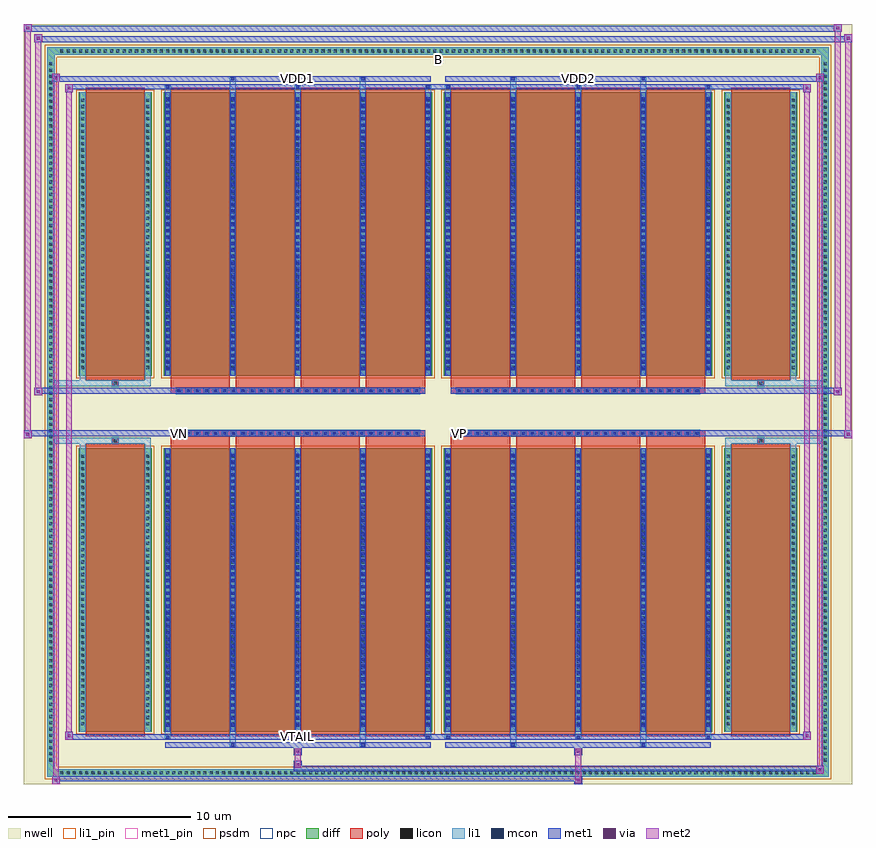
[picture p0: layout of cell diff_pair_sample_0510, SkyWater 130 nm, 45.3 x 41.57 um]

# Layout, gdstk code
import gdstk
lib = gdstk.Library(unit=1e-6, precision=5e-09)
def R(c, l, rs):  # rectangles x0, y0, x1, y1
    for r in rs: c.add(gdstk.rectangle(r[:2], r[2:], *l))
def A(c, l, x, y, w, h, nx, ny, dx, dy):  # array of equal rectangles
    R(c, l, [(x+i*dx, y+j*dy, x+i*dx+w, y+j*dy+h) for i in range(nx) for j in range(ny)])
def P(c, l, *ps):  # polygons
    for p in ps: c.add(gdstk.Polygon(p, *l))
nwell = (64, 20)
diff = (65, 20)
poly = (66, 20)
licon = (66, 44)
li1_pin = (67, 16)
li1 = (67, 20)
mcon = (67, 44)
met1_pin = (68, 16)
met1 = (68, 20)
via = (68, 44)
met2 = (69, 20)
psdm = (94, 20)
npc = (95, 20)

diff_pair_sample_0510 = lib.new_cell('diff_pair_sample_0510')
R(diff_pair_sample_0510, nwell, [(-22.65,-20.35,22.65,21.22), (-19.97,-18.54,-0.01,-0.8), (0.01,-18.54,19.97,-0.8), (-19.97,0.8,-0.01,18.54), (0.01,0.8,19.97,18.54)])
A(diff_pair_sample_0510, diff, -20.775, -19.95, 0.41, 0.41, 122, 2, 0.34, 39.49)
A(diff_pair_sample_0510, diff, -21.38, -19.245, 0.41, 0.41, 1, 113, 0, 0.34)
A(diff_pair_sample_0510, diff, 20.97, -19.245, 0.41, 0.41, 1, 113, 0, 0.34)
R(diff_pair_sample_0510, diff, [(-20.775,-19.95,20.775,-19.54), (-21.38,-19.245,-20.97,19.245), (20.97,-19.245,21.38,19.245), (-19.66,-17.495,-15.65,-1.985), (-15.01,-17.495,-0.32,-1.985), (0.32,-17.495,15.01,-1.985), (15.65,-17.495,19.66,-1.985), (-19.66,1.985,-15.65,17.495), (-15.01,1.985,-0.32,17.495), (0.32,1.985,15.01,17.495), (15.65,1.985,19.66,17.495), (-20.775,19.54,20.775,19.95)])
P(diff_pair_sample_0510, diff, [(21.38,19.95),(-21.38,19.95),(-21.38,-19.54),(-20.97,-19.54),(-20.97,19.54),(20.97,19.54),(20.97,-19.54),(-20.97,-19.54),(-21.38,-19.54),(-21.38,-19.95),(21.38,-19.95)])
A(diff_pair_sample_0510, poly, -14.62, -17.745, 3.23, 16.01, 4, 2, 3.56, 19.48)
A(diff_pair_sample_0510, poly, 0.71, -17.745, 3.23, 16.01, 4, 2, 3.56, 19.48)
A(diff_pair_sample_0510, poly, -14.62, -1.735, 3.23, 0.405, 4, 2, 3.56, 3.065)
A(diff_pair_sample_0510, poly, 0.71, -1.735, 3.23, 0.405, 4, 2, 3.56, 3.065)
A(diff_pair_sample_0510, poly, -14.33, -1.33, 0.33, 0.33, 27, 2, 0.5, 2.33)
A(diff_pair_sample_0510, poly, 1, -1.33, 0.33, 0.33, 27, 2, 0.5, 2.33)
R(diff_pair_sample_0510, poly, [(-19.27,-17.745,-16.04,-1.735), (16.04,-17.745,19.27,-1.735), (-17.82,-1.735,-17.49,-1.405), (-17.82,-1.735,-17.49,-1.405), (17.49,-1.735,17.82,-1.405), (17.49,-1.735,17.82,-1.405), (-14.62,-1.33,-0.71,-1), (0.71,-1.33,14.62,-1), (-14.62,1,-0.71,1.33), (0.71,1,14.62,1.33), (-17.82,1.405,-17.49,1.735), (-17.82,1.405,-17.49,1.735), (17.49,1.405,17.82,1.735), (17.49,1.405,17.82,1.735), (-19.27,1.735,-16.04,17.745), (16.04,1.735,19.27,17.745)])
A(diff_pair_sample_0510, licon, -20.655, -19.83, 0.17, 0.17, 122, 2, 0.34, 39.49)
A(diff_pair_sample_0510, licon, -21.26, -19.125, 0.17, 0.17, 1, 113, 0, 0.34)
A(diff_pair_sample_0510, licon, 21.09, -19.125, 0.17, 0.17, 1, 113, 0, 0.34)
A(diff_pair_sample_0510, licon, -19.52, -17.135, 0.17, 0.17, 1, 44, 0, 0.34)
A(diff_pair_sample_0510, licon, -15.96, -17.135, 0.17, 0.17, 1, 44, 0, 0.34)
A(diff_pair_sample_0510, licon, -14.87, -17.135, 0.17, 0.17, 5, 44, 3.56, 0.34)
A(diff_pair_sample_0510, licon, 0.46, -17.135, 0.17, 0.17, 5, 44, 3.56, 0.34)
A(diff_pair_sample_0510, licon, 15.79, -17.135, 0.17, 0.17, 1, 44, 0, 0.34)
A(diff_pair_sample_0510, licon, 19.35, -17.135, 0.17, 0.17, 1, 44, 0, 0.34)
A(diff_pair_sample_0510, licon, -14.25, -1.25, 0.17, 0.17, 27, 2, 0.5, 2.33)
A(diff_pair_sample_0510, licon, 1.08, -1.25, 0.17, 0.17, 27, 2, 0.5, 2.33)
A(diff_pair_sample_0510, licon, -19.52, 2.345, 0.17, 0.17, 1, 44, 0, 0.34)
A(diff_pair_sample_0510, licon, -15.96, 2.345, 0.17, 0.17, 1, 44, 0, 0.34)
A(diff_pair_sample_0510, licon, -14.87, 2.345, 0.17, 0.17, 5, 44, 3.56, 0.34)
A(diff_pair_sample_0510, licon, 0.46, 2.345, 0.17, 0.17, 5, 44, 3.56, 0.34)
A(diff_pair_sample_0510, licon, 15.79, 2.345, 0.17, 0.17, 1, 44, 0, 0.34)
A(diff_pair_sample_0510, licon, 19.35, 2.345, 0.17, 0.17, 1, 44, 0, 0.34)
R(diff_pair_sample_0510, licon, [(-17.74,-1.655,-17.57,-1.485), (17.57,-1.655,17.74,-1.485), (-17.74,1.485,-17.57,1.655), (17.57,1.485,17.74,1.655)])
R(diff_pair_sample_0510, li1_pin, [(-0.25,19.04,0.25,19.54)])
A(diff_pair_sample_0510, li1, -20.735, -19.91, 0.33, 0.33, 122, 2, 0.34, 39.49)
A(diff_pair_sample_0510, li1, -21.34, -19.205, 0.33, 0.33, 1, 113, 0, 0.34)
A(diff_pair_sample_0510, li1, 21.01, -19.205, 0.33, 0.33, 1, 113, 0, 0.34)
A(diff_pair_sample_0510, li1, -14.95, -17.87, 0.33, 0.375, 3, 2, 7.12, 35.365)
A(diff_pair_sample_0510, li1, -14.87, -17.87, 0.17, 0.17, 3, 2, 7.12, 35.57)
A(diff_pair_sample_0510, li1, 0.38, -17.87, 0.33, 0.375, 3, 2, 7.12, 35.365)
A(diff_pair_sample_0510, li1, 0.46, -17.87, 0.17, 0.17, 3, 2, 7.12, 35.57)
A(diff_pair_sample_0510, li1, -14.95, -17.495, 0.33, 15.51, 5, 2, 3.56, 19.48)
A(diff_pair_sample_0510, li1, 0.38, -17.495, 0.33, 15.51, 5, 2, 3.56, 19.48)
A(diff_pair_sample_0510, li1, -19.6, -17.215, 0.33, 0.33, 1, 44, 0, 0.34)
A(diff_pair_sample_0510, li1, -16.04, -17.215, 0.33, 0.33, 1, 44, 0, 0.34)
A(diff_pair_sample_0510, li1, -14.95, -17.215, 0.33, 0.33, 5, 44, 3.56, 0.34)
A(diff_pair_sample_0510, li1, 0.38, -17.215, 0.33, 0.33, 5, 44, 3.56, 0.34)
A(diff_pair_sample_0510, li1, 15.71, -17.215, 0.33, 0.33, 1, 44, 0, 0.34)
A(diff_pair_sample_0510, li1, 19.27, -17.215, 0.33, 0.33, 1, 44, 0, 0.34)
A(diff_pair_sample_0510, li1, -14.87, -17.205, 0.17, 0.17, 5, 42, 3.56, 0.36)
A(diff_pair_sample_0510, li1, -14.87, -17.205, 0.17, 14.93, 5, 2, 3.56, 19.48)
A(diff_pair_sample_0510, li1, 0.46, -17.205, 0.17, 0.17, 5, 42, 3.56, 0.36)
A(diff_pair_sample_0510, li1, 0.46, -17.205, 0.17, 14.93, 5, 2, 3.56, 19.48)
A(diff_pair_sample_0510, li1, -14.33, -1.33, 0.33, 0.33, 27, 2, 0.5, 2.33)
A(diff_pair_sample_0510, li1, 1, -1.33, 0.33, 0.33, 27, 2, 0.5, 2.33)
A(diff_pair_sample_0510, li1, -19.6, 2.265, 0.33, 0.33, 1, 44, 0, 0.34)
A(diff_pair_sample_0510, li1, -16.04, 2.265, 0.33, 0.33, 1, 44, 0, 0.34)
A(diff_pair_sample_0510, li1, -14.95, 2.265, 0.33, 0.33, 5, 44, 3.56, 0.34)
A(diff_pair_sample_0510, li1, 0.38, 2.265, 0.33, 0.33, 5, 44, 3.56, 0.34)
A(diff_pair_sample_0510, li1, 15.71, 2.265, 0.33, 0.33, 1, 44, 0, 0.34)
A(diff_pair_sample_0510, li1, 19.27, 2.265, 0.33, 0.33, 1, 44, 0, 0.34)
A(diff_pair_sample_0510, li1, -14.87, 2.275, 0.17, 0.17, 5, 42, 3.56, 0.36)
A(diff_pair_sample_0510, li1, 0.46, 2.275, 0.17, 0.17, 5, 42, 3.56, 0.36)
R(diff_pair_sample_0510, li1, [(-21.38,-19.95,-20.97,-19.54), (-21.38,-19.95,-20.97,-19.54), (-20.97,-19.95,20.97,-19.54), (20.97,-19.95,21.38,-19.54), (20.97,-19.95,21.38,-19.54), (-21.38,-19.54,-20.97,19.54), (20.97,-19.54,21.38,19.54), (-11.39,-18.3,-11.06,-17.495), (-11.31,-18.3,-11.14,-18.13), (-4.27,-18.3,-3.94,-17.495), (-4.19,-18.3,-4.02,-18.13), (3.94,-18.3,4.27,-17.495), (4.02,-18.3,4.19,-18.13), (11.06,-18.3,11.39,-17.495), (11.14,-18.3,11.31,-18.13), (-19.6,-17.495,-19.27,-1.985), (-16.04,-17.495,-15.71,-1.985), (15.71,-17.495,16.04,-1.985), (19.27,-17.495,19.6,-1.985), (-19.6,-1.985,-19.27,-1.405), (-16.04,-1.985,-15.71,-1.405), (15.71,-1.985,16.04,-1.405), (19.27,-1.985,19.6,-1.405), (-21.38,-1.735,-17.82,-1.405), (-19.6,-1.735,-17.82,-1.405), (-17.82,-1.735,-17.49,-1.405), (-17.49,-1.735,-15.71,-1.405), (15.71,-1.735,17.49,-1.405), (17.49,-1.735,17.82,-1.405), (17.49,-1.735,21.38,-1.405), (17.82,-1.735,19.6,-1.405), (-21.38,1.405,-17.82,1.735), (-19.6,1.405,-17.82,1.735), (-19.6,1.405,-19.27,1.985), (-17.82,1.405,-17.49,1.735), (-17.49,1.405,-15.71,1.735), (-16.04,1.405,-15.71,1.985), (15.71,1.405,17.49,1.735), (15.71,1.405,16.04,1.985), (17.49,1.405,17.82,1.735), (17.49,1.405,21.38,1.735), (17.82,1.405,19.6,1.735), (19.27,1.405,19.6,1.985), (-19.6,1.985,-19.27,17.495), (-16.04,1.985,-15.71,17.495), (15.71,1.985,16.04,17.495), (19.27,1.985,19.6,17.495), (-11.39,17.495,-11.06,18.3), (-4.27,17.495,-3.94,18.3), (3.94,17.495,4.27,18.3), (11.06,17.495,11.39,18.3), (-11.31,18.13,-11.14,18.3), (-4.19,18.13,-4.02,18.3), (4.02,18.13,4.19,18.3), (11.14,18.13,11.31,18.3), (-21.38,19.54,-20.97,19.95), (-21.38,19.54,-20.97,19.95), (-20.97,19.54,20.97,19.95), (20.97,19.54,21.38,19.95), (20.97,19.54,21.38,19.95)])
A(diff_pair_sample_0510, mcon, -14.87, -17.87, 0.17, 0.17, 3, 2, 7.12, 35.57)
A(diff_pair_sample_0510, mcon, 0.46, -17.87, 0.17, 0.17, 3, 2, 7.12, 35.57)
A(diff_pair_sample_0510, mcon, -14.87, -17.205, 0.17, 0.17, 5, 42, 3.56, 0.36)
A(diff_pair_sample_0510, mcon, 0.46, -17.205, 0.17, 0.17, 5, 42, 3.56, 0.36)
A(diff_pair_sample_0510, mcon, -14.25, -1.25, 0.17, 0.17, 27, 2, 0.5, 2.33)
A(diff_pair_sample_0510, mcon, 1.08, -1.25, 0.17, 0.17, 27, 2, 0.5, 2.33)
A(diff_pair_sample_0510, mcon, -14.87, 2.275, 0.17, 0.17, 5, 42, 3.56, 0.36)
A(diff_pair_sample_0510, mcon, 0.46, 2.275, 0.17, 0.17, 5, 42, 3.56, 0.36)
R(diff_pair_sample_0510, mcon, [(-11.31,-18.3,-11.14,-18.13), (-4.19,-18.3,-4.02,-18.13), (4.02,-18.3,4.19,-18.13), (11.14,-18.3,11.31,-18.13), (-11.31,18.13,-11.14,18.3), (-4.19,18.13,-4.02,18.3), (4.02,18.13,4.19,18.3), (11.14,18.13,11.31,18.3)])
R(diff_pair_sample_0510, met1_pin, [(-7.8,-17.91,-7.53,-17.64), (-14.3,-1.29,-14.03,-1.02), (1.03,-1.29,1.3,-1.02), (-7.8,18.09,-7.53,18.36), (7.53,18.09,7.8,18.36)])
A(diff_pair_sample_0510, met1, -14.93, -17.93, 0.29, 0.29, 3, 2, 7.12, 35.57)
A(diff_pair_sample_0510, met1, 0.4, -17.93, 0.29, 0.29, 3, 2, 7.12, 35.57)
A(diff_pair_sample_0510, met1, -14.93, -17.495, 0.29, 15.51, 5, 2, 3.56, 19.48)
A(diff_pair_sample_0510, met1, 0.4, -17.495, 0.29, 15.51, 5, 2, 3.56, 19.48)
A(diff_pair_sample_0510, met1, -14.93, -17.265, 0.29, 0.29, 5, 42, 3.56, 0.36)
A(diff_pair_sample_0510, met1, 0.4, -17.265, 0.29, 0.29, 5, 42, 3.56, 0.36)
A(diff_pair_sample_0510, met1, -14.31, -1.31, 0.29, 0.29, 27, 2, 0.5, 2.33)
A(diff_pair_sample_0510, met1, 1.02, -1.31, 0.29, 0.29, 27, 2, 0.5, 2.33)
A(diff_pair_sample_0510, met1, -14.93, 2.215, 0.29, 0.29, 5, 42, 3.56, 0.36)
A(diff_pair_sample_0510, met1, 0.4, 2.215, 0.29, 0.29, 5, 42, 3.56, 0.36)
R(diff_pair_sample_0510, met1, [(-21.11,-20.35,-20.68,-19.92), (7.45,-20.35,7.88,-19.92), (-21.11,-20.21,7.88,-19.92), (20.68,-19.78,21.11,-19.35), (-7.88,-19.64,21.11,-19.35), (-7.88,-19.5,-7.45,-19.07), (-7.88,-18.79,-7.45,-18.36), (7.45,-18.79,7.88,-18.36), (-14.93,-18.36,-0.4,-18.07), (-11.37,-18.36,-11.08,-18.07), (-4.25,-18.36,-3.96,-18.07), (0.4,-18.36,14.93,-18.07), (3.96,-18.36,4.25,-18.07), (11.08,-18.36,11.37,-18.07), (-20.4,-17.93,-19.97,-17.5), (-20.4,-17.93,-14.93,-17.64), (-14.93,-17.93,-0.4,-17.64), (-0.4,-17.93,0.4,-17.64), (0.4,-17.93,14.93,-17.64), (14.93,-17.93,20.4,-17.64), (19.97,-17.93,20.4,-17.5), (-22.65,-1.43,-22.22,-1), (22.22,-1.43,22.65,-1), (-22.65,-1.33,-0.71,-1), (-14.62,-1.33,-0.71,-1), (0.71,-1.33,14.62,-1), (0.71,-1.33,22.65,-1), (-22.08,0.9,-21.65,1.33), (21.65,0.9,22.08,1.33), (-22.08,1,-14.62,1.33), (-14.62,1,-0.71,1.33), (0.71,1,14.62,1.33), (14.62,1,22.08,1.33), (-20.4,17.5,-19.97,17.93), (19.97,17.5,20.4,17.93), (-20.4,17.64,-14.93,17.93), (-14.93,17.64,-0.4,17.93), (-0.4,17.64,0.4,17.93), (0.4,17.64,14.93,17.93), (14.93,17.64,20.4,17.93), (-21.11,18.07,-20.68,18.5), (-21.11,18.07,-14.93,18.36), (-14.93,18.07,-0.4,18.36), (-11.37,18.07,-11.08,18.36), (-4.25,18.07,-3.96,18.36), (0.4,18.07,14.93,18.36), (3.96,18.07,4.25,18.36), (11.08,18.07,11.37,18.36), (14.93,18.07,21.11,18.36), (20.68,18.07,21.11,18.5), (-22.08,20.22,-21.65,20.65), (-22.08,20.22,-19.97,20.55), (-19.97,20.22,19.97,20.55), (19.97,20.22,22.65,20.55), (22.22,20.22,22.65,20.65), (-22.65,20.79,-22.22,21.22), (-22.65,20.79,-19.97,21.12), (-19.97,20.79,19.97,21.12), (19.97,20.79,22.08,21.12), (21.65,20.79,22.08,21.22)])
R(diff_pair_sample_0510, via, [(-20.97,-20.21,-20.82,-20.06), (7.59,-20.21,7.74,-20.06), (20.82,-19.64,20.97,-19.49), (-7.74,-19.36,-7.59,-19.21), (-7.74,-18.65,-7.59,-18.5), (7.59,-18.65,7.74,-18.5), (-20.26,-17.79,-20.11,-17.64), (20.11,-17.79,20.26,-17.64), (-22.51,-1.29,-22.36,-1.14), (22.36,-1.29,22.51,-1.14), (-21.94,1.04,-21.79,1.19), (21.79,1.04,21.94,1.19), (-20.26,17.64,-20.11,17.79), (20.11,17.64,20.26,17.79), (-20.97,18.21,-20.82,18.36), (20.82,18.21,20.97,18.36), (-21.94,20.36,-21.79,20.51), (22.36,20.36,22.51,20.51), (-22.51,20.93,-22.36,21.08), (21.79,20.93,21.94,21.08)])
R(diff_pair_sample_0510, met2, [(-21.11,-20.35,-20.68,-19.92), (-21.04,-20.35,-20.75,18.5), (-20.75,-20.35,-20.68,-19.92), (-21.06,-20.3,-20.73,-19.97), (7.5,-20.3,7.83,-19.97), (7.5,-19.97,7.83,-18.74), (20.68,-19.78,21.11,-19.35), (20.75,-19.78,21.04,18.5), (21.04,-19.78,21.11,-19.35), (20.73,-19.73,21.06,-19.4), (-7.83,-19.45,-7.5,-19.12), (-7.83,-19.12,-7.5,-18.74), (-7.83,-18.74,-7.5,-18.41), (7.5,-18.74,7.83,-18.41), (-20.4,-17.93,-19.97,-17.5), (-20.33,-17.93,-20.04,17.93), (-20.04,-17.93,-19.97,-17.5), (19.97,-17.93,20.4,-17.5), (20.04,-17.93,20.33,17.93), (20.33,-17.93,20.4,-17.5), (-20.35,-17.88,-20.02,-17.55), (20.02,-17.88,20.35,-17.55), (-22.65,-1.43,-22.22,-1), (-22.6,-1.43,-22.27,21.22), (-22.27,-1.43,-22.22,-1), (22.22,-1.43,22.65,-1), (22.27,-1.43,22.6,20.65), (22.6,-1.43,22.65,-1), (-22.6,-1.38,-22.27,-1.05), (22.27,-1.38,22.6,-1.05), (-22.08,0.9,-21.65,1.33), (-22.03,0.9,-21.7,20.65), (-21.7,0.9,-21.65,1.33), (21.65,0.9,22.08,1.33), (21.7,0.9,22.03,21.22), (22.03,0.9,22.08,1.33), (-22.03,0.95,-21.7,1.28), (21.7,0.95,22.03,1.28), (-20.4,17.5,-19.97,17.93), (-20.04,17.5,-19.97,17.93), (19.97,17.5,20.4,17.93), (20.33,17.5,20.4,17.93), (-20.35,17.55,-20.02,17.88), (20.02,17.55,20.35,17.88), (-21.11,18.07,-20.68,18.5), (-20.75,18.07,-20.68,18.5), (20.68,18.07,21.11,18.5), (21.04,18.07,21.11,18.5), (-21.06,18.12,-20.73,18.45), (20.73,18.12,21.06,18.45), (-22.08,20.22,-21.65,20.65), (-21.7,20.22,-21.65,20.65), (22.22,20.22,22.65,20.65), (22.6,20.22,22.65,20.65), (-22.03,20.27,-21.7,20.6), (22.27,20.27,22.6,20.6), (-22.65,20.79,-22.22,21.22), (-22.27,20.79,-22.22,21.22), (21.65,20.79,22.08,21.22), (22.03,20.79,22.08,21.22), (-22.6,20.84,-22.27,21.17), (21.7,20.84,22.03,21.17)])
R(diff_pair_sample_0510, psdm, [(-19.79,-17.625,-15.52,-1.855), (-15.14,-17.625,-0.19,-1.855), (0.19,-17.625,15.14,-1.855), (15.52,-17.625,19.79,-1.855), (-19.79,1.855,-15.52,17.625), (-15.14,1.855,-0.19,17.625), (0.19,1.855,15.14,17.625), (15.52,1.855,19.79,17.625)])
P(diff_pair_sample_0510, psdm, [(21.51,20.08),(-21.51,20.08),(-21.51,-19.41),(-20.84,-19.41),(-20.84,19.41),(20.84,19.41),(20.84,-19.41),(-20.84,-19.41),(-21.51,-19.41),(-21.51,-20.08),(21.51,-20.08)])
A(diff_pair_sample_0510, npc, -14.35, -1.35, 0.37, 0.37, 27, 2, 0.5, 2.33)
A(diff_pair_sample_0510, npc, 0.98, -1.35, 0.37, 0.37, 27, 2, 0.5, 2.33)
R(diff_pair_sample_0510, npc, [(-17.84,-1.755,-17.47,-1.385), (17.47,-1.755,17.84,-1.385), (-14.35,-1.35,-13.48,-0.98), (-14.35,-1.35,-13.48,-0.98), (-13.85,-1.35,-12.98,-0.98), (-13.85,-1.35,-12.98,-0.98), (-13.35,-1.35,-12.48,-0.98), (-13.35,-1.35,-12.48,-0.98), (-12.85,-1.35,-11.98,-0.98), (-12.85,-1.35,-11.98,-0.98), (-12.35,-1.35,-11.48,-0.98), (-12.35,-1.35,-11.48,-0.98), (-11.85,-1.35,-10.98,-0.98), (-11.85,-1.35,-10.98,-0.98), (-11.35,-1.35,-10.48,-0.98), (-11.35,-1.35,-10.48,-0.98), (-10.85,-1.35,-9.98,-0.98), (-10.85,-1.35,-9.98,-0.98), (-10.35,-1.35,-9.48,-0.98), (-10.35,-1.35,-9.48,-0.98), (-9.85,-1.35,-8.98,-0.98), (-9.85,-1.35,-8.98,-0.98), (-9.35,-1.35,-8.48,-0.98), (-9.35,-1.35,-8.48,-0.98), (-8.85,-1.35,-7.98,-0.98), (-8.85,-1.35,-7.98,-0.98), (-8.35,-1.35,-7.48,-0.98), (-8.35,-1.35,-7.48,-0.98), (-7.85,-1.35,-6.98,-0.98), (-7.85,-1.35,-6.98,-0.98), (-7.35,-1.35,-6.48,-0.98), (-7.35,-1.35,-6.48,-0.98), (-6.85,-1.35,-5.98,-0.98), (-6.85,-1.35,-5.98,-0.98), (-6.35,-1.35,-5.48,-0.98), (-6.35,-1.35,-5.48,-0.98), (-5.85,-1.35,-4.98,-0.98), (-5.85,-1.35,-4.98,-0.98), (-5.35,-1.35,-4.48,-0.98), (-5.35,-1.35,-4.48,-0.98), (-4.85,-1.35,-3.98,-0.98), (-4.85,-1.35,-3.98,-0.98), (-4.35,-1.35,-3.48,-0.98), (-4.35,-1.35,-3.48,-0.98), (-3.85,-1.35,-2.98,-0.98), (-3.85,-1.35,-2.98,-0.98), (-3.35,-1.35,-2.48,-0.98), (-3.35,-1.35,-2.48,-0.98), (-2.85,-1.35,-1.98,-0.98), (-2.85,-1.35,-1.98,-0.98), (-2.35,-1.35,-1.48,-0.98), (-2.35,-1.35,-1.48,-0.98), (-1.85,-1.35,-0.98,-0.98), (-1.85,-1.35,-0.98,-0.98), (0.98,-1.35,1.85,-0.98), (0.98,-1.35,1.85,-0.98), (1.48,-1.35,2.35,-0.98), (1.48,-1.35,2.35,-0.98), (1.98,-1.35,2.85,-0.98), (1.98,-1.35,2.85,-0.98), (2.48,-1.35,3.35,-0.98), (2.48,-1.35,3.35,-0.98), (2.98,-1.35,3.85,-0.98), (2.98,-1.35,3.85,-0.98), (3.48,-1.35,4.35,-0.98), (3.48,-1.35,4.35,-0.98), (3.98,-1.35,4.85,-0.98), (3.98,-1.35,4.85,-0.98), (4.48,-1.35,5.35,-0.98), (4.48,-1.35,5.35,-0.98), (4.98,-1.35,5.85,-0.98), (4.98,-1.35,5.85,-0.98), (5.48,-1.35,6.35,-0.98), (5.48,-1.35,6.35,-0.98), (5.98,-1.35,6.85,-0.98), (5.98,-1.35,6.85,-0.98), (6.48,-1.35,7.35,-0.98), (6.48,-1.35,7.35,-0.98), (6.98,-1.35,7.85,-0.98), (6.98,-1.35,7.85,-0.98), (7.48,-1.35,8.35,-0.98), (7.48,-1.35,8.35,-0.98), (7.98,-1.35,8.85,-0.98), (7.98,-1.35,8.85,-0.98), (8.48,-1.35,9.35,-0.98), (8.48,-1.35,9.35,-0.98), (8.98,-1.35,9.85,-0.98), (8.98,-1.35,9.85,-0.98), (9.48,-1.35,10.35,-0.98), (9.48,-1.35,10.35,-0.98), (9.98,-1.35,10.85,-0.98), (9.98,-1.35,10.85,-0.98), (10.48,-1.35,11.35,-0.98), (10.48,-1.35,11.35,-0.98), (10.98,-1.35,11.85,-0.98), (10.98,-1.35,11.85,-0.98), (11.48,-1.35,12.35,-0.98), (11.48,-1.35,12.35,-0.98), (11.98,-1.35,12.85,-0.98), (11.98,-1.35,12.85,-0.98), (12.48,-1.35,13.35,-0.98), (12.48,-1.35,13.35,-0.98), (12.98,-1.35,13.85,-0.98), (12.98,-1.35,13.85,-0.98), (13.48,-1.35,14.35,-0.98), (13.48,-1.35,14.35,-0.98), (-14.35,0.98,-13.48,1.35), (-14.35,0.98,-13.48,1.35), (-13.85,0.98,-12.98,1.35), (-13.85,0.98,-12.98,1.35), (-13.35,0.98,-12.48,1.35), (-13.35,0.98,-12.48,1.35), (-12.85,0.98,-11.98,1.35), (-12.85,0.98,-11.98,1.35), (-12.35,0.98,-11.48,1.35), (-12.35,0.98,-11.48,1.35), (-11.85,0.98,-10.98,1.35), (-11.85,0.98,-10.98,1.35), (-11.35,0.98,-10.48,1.35), (-11.35,0.98,-10.48,1.35), (-10.85,0.98,-9.98,1.35), (-10.85,0.98,-9.98,1.35), (-10.35,0.98,-9.48,1.35), (-10.35,0.98,-9.48,1.35), (-9.85,0.98,-8.98,1.35), (-9.85,0.98,-8.98,1.35), (-9.35,0.98,-8.48,1.35), (-9.35,0.98,-8.48,1.35), (-8.85,0.98,-7.98,1.35), (-8.85,0.98,-7.98,1.35), (-8.35,0.98,-7.48,1.35), (-8.35,0.98,-7.48,1.35), (-7.85,0.98,-6.98,1.35), (-7.85,0.98,-6.98,1.35), (-7.35,0.98,-6.48,1.35), (-7.35,0.98,-6.48,1.35), (-6.85,0.98,-5.98,1.35), (-6.85,0.98,-5.98,1.35), (-6.35,0.98,-5.48,1.35), (-6.35,0.98,-5.48,1.35), (-5.85,0.98,-4.98,1.35), (-5.85,0.98,-4.98,1.35), (-5.35,0.98,-4.48,1.35), (-5.35,0.98,-4.48,1.35), (-4.85,0.98,-3.98,1.35), (-4.85,0.98,-3.98,1.35), (-4.35,0.98,-3.48,1.35), (-4.35,0.98,-3.48,1.35), (-3.85,0.98,-2.98,1.35), (-3.85,0.98,-2.98,1.35), (-3.35,0.98,-2.48,1.35), (-3.35,0.98,-2.48,1.35), (-2.85,0.98,-1.98,1.35), (-2.85,0.98,-1.98,1.35), (-2.35,0.98,-1.48,1.35), (-2.35,0.98,-1.48,1.35), (-1.85,0.98,-0.98,1.35), (-1.85,0.98,-0.98,1.35), (0.98,0.98,1.85,1.35), (0.98,0.98,1.85,1.35), (1.48,0.98,2.35,1.35), (1.48,0.98,2.35,1.35), (1.98,0.98,2.85,1.35), (1.98,0.98,2.85,1.35), (2.48,0.98,3.35,1.35), (2.48,0.98,3.35,1.35), (2.98,0.98,3.85,1.35), (2.98,0.98,3.85,1.35), (3.48,0.98,4.35,1.35), (3.48,0.98,4.35,1.35), (3.98,0.98,4.85,1.35), (3.98,0.98,4.85,1.35), (4.48,0.98,5.35,1.35), (4.48,0.98,5.35,1.35), (4.98,0.98,5.85,1.35), (4.98,0.98,5.85,1.35), (5.48,0.98,6.35,1.35), (5.48,0.98,6.35,1.35), (5.98,0.98,6.85,1.35), (5.98,0.98,6.85,1.35), (6.48,0.98,7.35,1.35), (6.48,0.98,7.35,1.35), (6.98,0.98,7.85,1.35), (6.98,0.98,7.85,1.35), (7.48,0.98,8.35,1.35), (7.48,0.98,8.35,1.35), (7.98,0.98,8.85,1.35), (7.98,0.98,8.85,1.35), (8.48,0.98,9.35,1.35), (8.48,0.98,9.35,1.35), (8.98,0.98,9.85,1.35), (8.98,0.98,9.85,1.35), (9.48,0.98,10.35,1.35), (9.48,0.98,10.35,1.35), (9.98,0.98,10.85,1.35), (9.98,0.98,10.85,1.35), (10.48,0.98,11.35,1.35), (10.48,0.98,11.35,1.35), (10.98,0.98,11.85,1.35), (10.98,0.98,11.85,1.35), (11.48,0.98,12.35,1.35), (11.48,0.98,12.35,1.35), (11.98,0.98,12.85,1.35), (11.98,0.98,12.85,1.35), (12.48,0.98,13.35,1.35), (12.48,0.98,13.35,1.35), (12.98,0.98,13.85,1.35), (12.98,0.98,13.85,1.35), (13.48,0.98,14.35,1.35), (13.48,0.98,14.35,1.35), (-17.84,1.385,-17.47,1.755), (17.47,1.385,17.84,1.755)])
diff_pair_sample_0510.add(gdstk.Label('VTAIL', (-7.665,-17.775), layer=68, texttype=5))
diff_pair_sample_0510.add(gdstk.Label('VN', (-14.165,-1.155), layer=68, texttype=5))
diff_pair_sample_0510.add(gdstk.Label('VP', (1.165,-1.155), layer=68, texttype=5))
diff_pair_sample_0510.add(gdstk.Label('B', (0,19.29), layer=67, texttype=5))
diff_pair_sample_0510.add(gdstk.Label('VDD2', (7.665,18.225), layer=68, texttype=5))
diff_pair_sample_0510.add(gdstk.Label('VDD1', (-7.665,18.225), layer=68, texttype=5))

lib.write_gds('diff_pair_sample_0510.gds')
